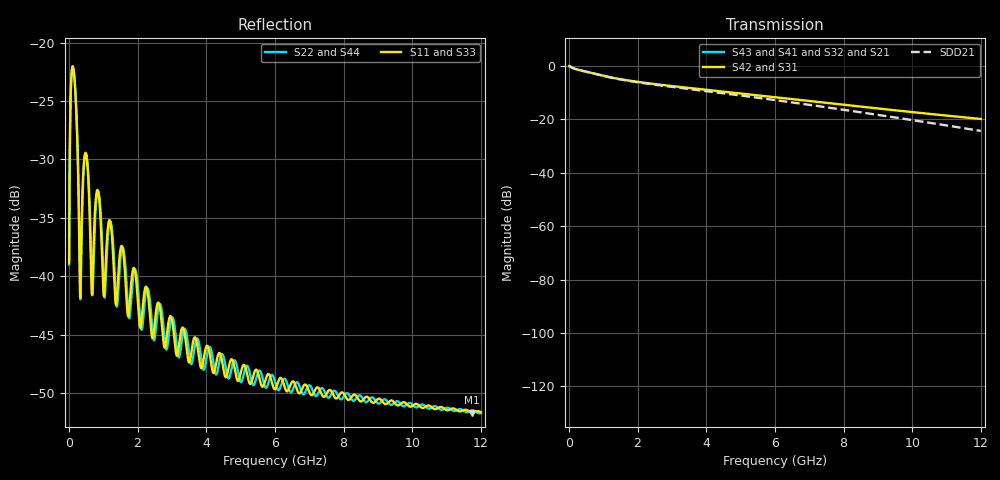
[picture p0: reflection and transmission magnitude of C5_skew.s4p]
! SYNTHETIC PCB; not extracted/measured; no fixture or crosstalk.
! Port 1=TX+, 2=TX-, 3=RX+, 4=RX-. Differential reference 100 ohm.
# Hz S RI R 50
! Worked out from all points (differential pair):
!   2400 points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, 5 MHz to 12 GHz, reference 50 ohm
!   strongest paths, dB at 5 MHz, 3.005 GHz, 6.005 GHz, 9.005 GHz, 12 GHz:
!     S42: -0.1, -7.5, -11.7, -15.9, -19.9
!     S31: -0.1, -7.7, -11.9, -16.2, -20.2
!     S43: -, -, -, -, -
!     S41: -, -, -, -, -
!     S32: -, -, -, -, -
!     S21: -, -, -, -, -
!   taken as a pair (ports 2,1 in; 4,3 out), SDD21 dB: -0.1, -7.8, -12.8, -18.3, -24.3
!   lowest |S11| = -51.6 dB at 11.75 GHz (marker M1), VSWR 1.01, Z = 49.8 - j0.107 ohm
!   |S11| at or under -10 dB: start of sweep to end of sweep
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5000000  0.00964 0.00617  0 0  0.9892 -0.0537  0 0
         0 0  0.00947 0.00608  0 0  0.9894 -0.0528
         0.9892 -0.0537  0 0  0.00964 0.00617  0 0
         0 0  0.9894 -0.0528  0 0  0.00947 0.00608
3.3e8  0.00545 -0.00603  0 0  -0.8278 0.0144  0 0
       0 0  0.00388 -0.00715  0 0  -0.8301 -0.0309
       -0.8278 0.0144  0 0  0.00545 -0.00603  0 0
       0 0  -0.8301 -0.0309  0 0  0.00388 -0.00715
6.75e8  0.00489 -0.0069  0 0  0.7285 -0.031  0 0
        0 0  0.00305 -0.00789  0 0  0.7315 0.049
        0.7285 -0.031  0 0  0.00489 -0.0069  0 0
        0 0  0.7315 0.049  0 0  0.00305 -0.00789
1.03e9  0.00404 -0.0074  0 0  -0.6392 0.0683  0 0
        0 0  0.00219 -0.0079  0 0  -0.6467 -0.0378
        -0.6392 0.0683  0 0  0.00404 -0.0074  0 0
        0 0  -0.6467 -0.0378  0 0  0.00219 -0.0079
1.39e9  0.00291 -0.0073  0 0  0.5671 -0.1036  0 0
        0 0  0.00126 -0.00735  0 0  0.5816 0.0232
        0.5671 -0.1036  0 0  0.00291 -0.0073  0 0
        0 0  0.5816 0.0232  0 0  0.00126 -0.00735
1.175e10  -0.00239 -0.00107  0 0  -0.1011 0.00697  0 0
          0 0  -0.00243 -0.0011  0 0  0.0163 -0.1041
          -0.1011 0.00697  0 0  -0.00239 -0.00107  0 0
          0 0  0.0163 -0.1041  0 0  -0.00243 -0.0011
1.2e10  -0.00243 -0.00099  0 0  0.0609 0.0764  0 0
        0 0  -0.00239 -0.00102  0 0  -0.0932 0.0407
        0.0609 0.0764  0 0  -0.00243 -0.00099  0 0
        0 0  -0.0932 0.0407  0 0  -0.00239 -0.00102
